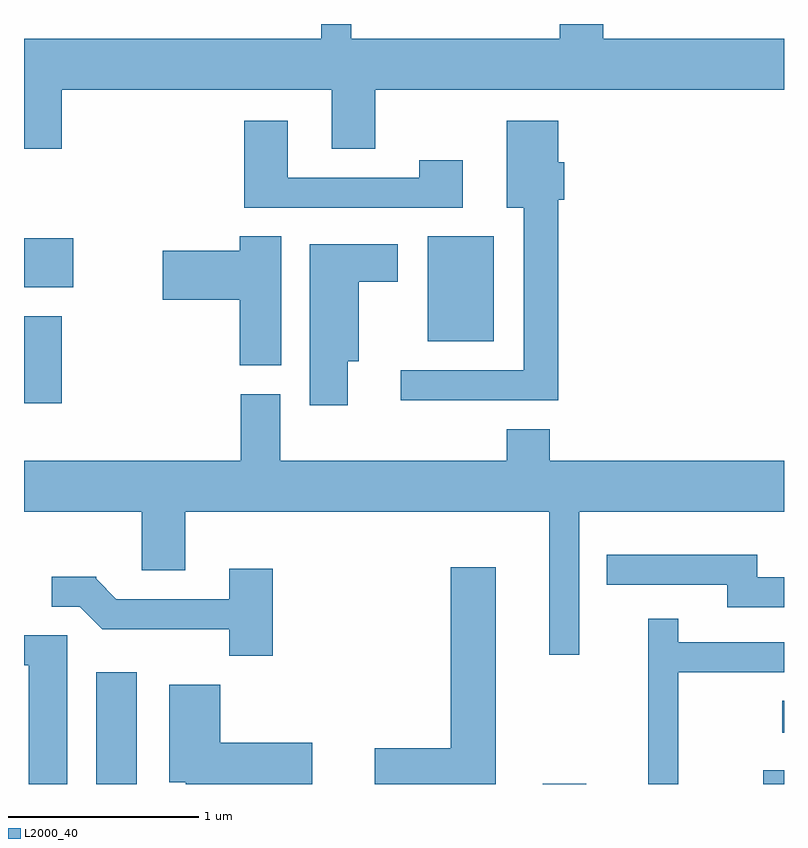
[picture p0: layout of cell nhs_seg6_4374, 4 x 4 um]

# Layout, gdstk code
import gdstk
lib = gdstk.Library(unit=1e-6, precision=1e-09)
def R(c, l, rs):  # rectangles x0, y0, x1, y1
    for r in rs: c.add(gdstk.rectangle(r[:2], r[2:], *l))
def P(c, l, *ps):  # polygons
    for p in ps: c.add(gdstk.Polygon(p, *l))
L2000_40 = (2000, 40)

nhs_seg6_4374 = lib.new_cell('nhs_seg6_4374')
R(nhs_seg6_4374, L2000_40, [(319.991,1544.162,320.204,1544.749), (322.341,1544.162,322.569,1544.164), (323.501,1544.162,323.611,1544.234), (323.603,1544.431,323.611,1544.599), (319.611,1546.166,319.809,1546.624), (321.736,1546.491,322.084,1547.044), (319.611,1546.776,319.869,1547.034)])
P(nhs_seg6_4374, L2000_40, [(319.809,1547.816),(321.231,1547.816),(321.231,1547.506),(321.459,1547.506),(321.459,1547.816),(323.611,1547.816),(323.611,1548.084),(322.659,1548.084),(322.659,1548.162),(322.431,1548.162),(322.431,1548.084),(321.334,1548.084),(321.334,1548.162),(321.176,1548.162),(321.176,1548.084),(319.611,1548.084),(319.611,1547.506),(319.809,1547.506)],
  [(322.424,1547.236),(322.454,1547.236),(322.454,1547.434),(322.424,1547.434),(322.424,1547.654),(322.151,1547.654),(322.151,1547.196),(322.241,1547.196),(322.241,1546.339),(321.593,1546.339),(321.593,1546.181),(322.424,1546.181)],
  [(321.919,1547.444),(321.691,1547.444),(321.691,1547.354),(320.999,1547.354),(320.999,1547.654),(320.771,1547.654),(320.771,1547.196),(321.919,1547.196)],
  [(320.964,1547.044),(320.746,1547.044),(320.746,1546.969),(320.341,1546.969),(320.341,1546.711),(320.746,1546.711),(320.746,1546.366),(320.964,1546.366)],
  [(321.314,1546.386),(321.374,1546.386),(321.374,1546.806),(321.579,1546.806),(321.579,1547.004),(321.116,1547.004),(321.116,1546.156),(321.314,1546.156)],
  [(322.534,1545.596),(323.611,1545.596),(323.611,1545.864),(322.379,1545.864),(322.379,1546.029),(322.151,1546.029),(322.151,1545.864),(320.959,1545.864),(320.959,1546.214),(320.751,1546.214),(320.751,1545.864),(319.611,1545.864),(319.611,1545.596),(320.231,1545.596),(320.231,1545.286),(320.459,1545.286),(320.459,1545.596),(322.376,1545.596),(322.376,1544.843),(322.534,1544.843)],
  [(323.611,1545.249),(323.469,1545.249),(323.469,1545.369),(322.678,1545.369),(322.678,1545.211),(323.311,1545.211),(323.311,1545.091),(323.611,1545.091)],
  [(322.094,1545.304),(321.856,1545.304),(321.856,1544.349),(321.456,1544.349),(321.456,1544.162),(322.094,1544.162)],
  [(320.919,1545.294),(320.691,1545.294),(320.691,1545.134),(320.097,1545.134),(319.99,1545.241),(319.99,1545.254),(319.758,1545.254),(319.758,1545.096),(319.904,1545.096),(320.024,1544.976),(320.691,1544.976),(320.691,1544.836),(320.919,1544.836)],
  [(323.054,1544.751),(323.611,1544.751),(323.611,1544.909),(323.054,1544.909),(323.054,1545.033),(322.896,1545.033),(322.896,1544.162),(323.054,1544.162)],
  [(319.839,1544.944),(319.611,1544.944),(319.611,1544.786),(319.636,1544.786),(319.636,1544.162),(319.839,1544.162)],
  [(321.129,1544.379),(320.644,1544.379),(320.644,1544.684),(320.376,1544.684),(320.376,1544.171),(320.461,1544.171),(320.461,1544.162),(321.129,1544.162)])

lib.write_gds('nhs_seg6_4374.gds')
